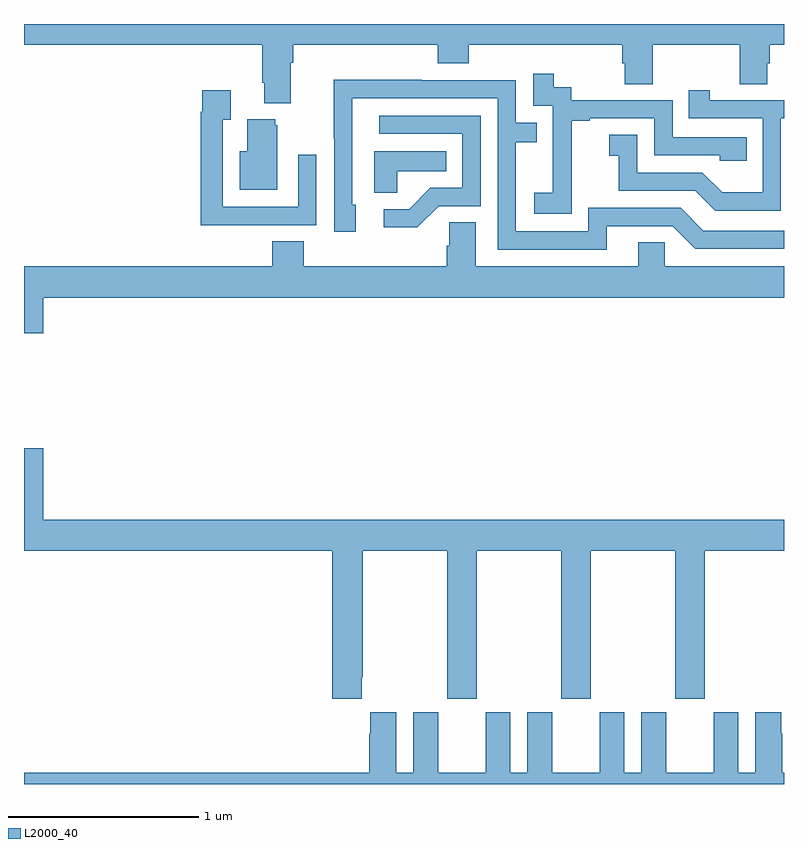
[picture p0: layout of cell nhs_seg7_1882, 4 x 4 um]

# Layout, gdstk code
import gdstk
lib = gdstk.Library(unit=1e-6, precision=1e-09)
def P(c, l, *ps):  # polygons
    for p in ps: c.add(gdstk.Polygon(p, *l))
L2000_40 = (2000, 40)

nhs_seg7_1882 = lib.new_cell('nhs_seg7_1882')
P(nhs_seg7_1882, L2000_40, [(238.405,1057.796),(238.418,1057.796),(238.418,1057.892),(239.177,1057.892),(239.177,1057.793),(239.342,1057.793),(239.342,1057.892),(240.149,1057.892),(240.149,1057.794),(240.161,1057.794),(240.161,1057.684),(240.309,1057.684),(240.309,1057.892),(240.766,1057.892),(240.766,1057.684),(240.913,1057.684),(240.913,1057.794),(240.926,1057.794),(240.926,1057.892),(241,1057.892),(241,1058),(237,1058),(237,1057.892),(238.253,1057.892),(238.253,1057.69),(238.265,1057.69),(238.265,1057.583),(238.405,1057.583)],
  [(239.883,1057.207),(239.882,1057.207),(239.882,1057.491),(239.977,1057.491),(239.977,1057.503),(240.318,1057.503),(240.318,1057.308),(240.663,1057.308),(240.663,1057.281),(240.803,1057.281),(240.803,1057.404),(240.414,1057.404),(240.414,1057.599),(239.88,1057.599),(239.88,1057.668),(239.788,1057.668),(239.788,1057.738),(239.679,1057.738),(239.679,1057.569),(239.784,1057.569),(239.784,1057.34),(239.783,1057.34),(239.783,1057.111),(239.685,1057.111),(239.685,1057.001),(239.883,1057.001)],
  [(240.067,1056.936),(240.414,1056.936),(240.534,1056.816),(241,1056.816),(241,1056.912),(240.576,1056.912),(240.456,1057.032),(239.97,1057.032),(239.97,1056.909),(239.589,1056.909),(239.589,1057.378),(239.699,1057.378),(239.699,1057.479),(239.589,1057.479),(239.589,1057.704),(239.093,1057.704),(239.093,1057.706),(238.63,1057.706),(238.63,1057.399),(238.632,1057.399),(238.632,1056.906),(238.747,1056.906),(238.747,1057.05),(238.728,1057.05),(238.728,1057.608),(239.493,1057.608),(239.493,1056.813),(240.067,1056.813)],
  [(238.223,1056.942),(238.539,1056.942),(238.539,1057.312),(238.443,1057.312),(238.443,1057.038),(238.047,1057.038),(238.047,1057.495),(238.087,1057.495),(238.087,1057.651),(237.939,1057.651),(237.939,1057.538),(237.931,1057.538),(237.931,1056.941),(238.223,1056.941)],
  [(240.984,1057.503),(241,1057.503),(241,1057.599),(240.61,1057.599),(240.61,1057.651),(240.499,1057.651),(240.499,1057.503),(240.888,1057.503),(240.888,1057.114),(240.674,1057.114),(240.57,1057.218),(240.228,1057.218),(240.228,1057.417),(240.081,1057.417),(240.081,1057.307),(240.13,1057.307),(240.13,1057.122),(240.533,1057.122),(240.638,1057.017),(240.984,1057.017)],
  [(239.184,1057.041),(239.403,1057.041),(239.403,1057.518),(238.869,1057.518),(238.869,1057.422),(239.307,1057.422),(239.307,1057.137),(239.138,1057.137),(239.027,1057.026),(238.893,1057.026),(238.893,1056.929),(239.071,1056.929)],
  [(238.333,1057.467),(238.322,1057.467),(238.322,1057.498),(238.175,1057.498),(238.175,1057.33),(238.136,1057.33),(238.136,1057.127),(238.333,1057.127)],
  [(238.965,1057.226),(239.222,1057.226),(239.222,1057.33),(238.844,1057.33),(238.844,1057.111),(238.965,1057.111)],
  [(237.1,1056.56),(241,1056.56),(241,1056.724),(240.372,1056.724),(240.372,1056.851),(240.233,1056.851),(240.233,1056.724),(239.377,1056.724),(239.377,1056.956),(239.238,1056.956),(239.238,1056.833),(239.225,1056.833),(239.225,1056.724),(238.472,1056.724),(238.472,1056.857),(238.307,1056.857),(238.307,1056.724),(237,1056.724),(237,1056.372),(237.1,1056.372)],
  [(238.777,1054.561),(238.782,1054.561),(238.782,1055.228),(239.227,1055.228),(239.227,1054.449),(239.382,1054.449),(239.382,1055.228),(239.827,1055.228),(239.827,1054.449),(239.982,1054.449),(239.982,1055.228),(240.427,1055.228),(240.427,1054.449),(240.582,1054.449),(240.582,1055.228),(241,1055.228),(241,1055.392),(237.1,1055.392),(237.1,1055.767),(237,1055.767),(237,1055.228),(238.622,1055.228),(238.622,1054.449),(238.777,1054.449)],
  [(241,1054.06),(240.992,1054.06),(240.992,1054.265),(240.985,1054.265),(240.985,1054.378),(240.848,1054.378),(240.848,1054.06),(240.76,1054.06),(240.76,1054.378),(240.629,1054.378),(240.629,1054.06),(240.379,1054.06),(240.379,1054.378),(240.248,1054.378),(240.248,1054.06),(240.16,1054.06),(240.16,1054.378),(240.029,1054.378),(240.029,1054.06),(239.779,1054.06),(239.779,1054.378),(239.648,1054.378),(239.648,1054.06),(239.56,1054.06),(239.56,1054.378),(239.429,1054.378),(239.429,1054.06),(239.179,1054.06),(239.179,1054.378),(239.048,1054.378),(239.048,1054.06),(238.96,1054.06),(238.96,1054.378),(238.823,1054.378),(238.823,1054.265),(238.817,1054.265),(238.817,1054.06),(237,1054.06),(237,1054),(241,1054)])

lib.write_gds('nhs_seg7_1882.gds')
